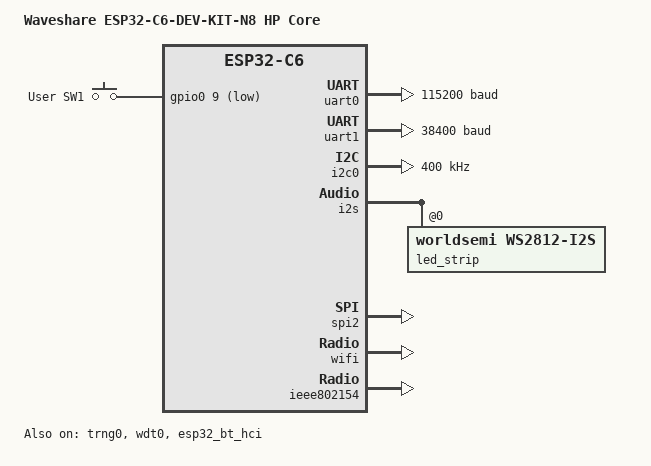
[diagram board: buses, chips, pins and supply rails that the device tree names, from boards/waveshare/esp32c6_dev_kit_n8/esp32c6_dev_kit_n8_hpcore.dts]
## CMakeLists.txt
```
cmake_minimum_required(VERSION 3.20.0)

list(APPEND BOARD_ROOT ${CMAKE_CURRENT_SOURCE_DIR})

find_package(Zephyr REQUIRED HINTS $ENV{ZEPHYR_BASE})
project(esp_nmea_bridge)

target_sources(app PRIVATE
  src/main.c
  src/nmea_bridge.c
  src/uart_nmea.c
  src/wifi_manager.c
  src/tcp_nmea_server.c
  src/tcp_nmea_session.c
)

configure_file(
  ${CMAKE_CURRENT_SOURCE_DIR}/src/web_assets.S.in
  ${CMAKE_CURRENT_BINARY_DIR}/web_assets.S
  @ONLY
)

set_property(SOURCE ${CMAKE_CURRENT_BINARY_DIR}/web_assets.S PROPERTY OBJECT_DEPENDS
  ${CMAKE_CURRENT_SOURCE_DIR}/src/web_assets/index.html
  ${CMAKE_CURRENT_SOURCE_DIR}/src/web_assets/app.js
  ${CMAKE_CURRENT_SOURCE_DIR}/src/web_assets/style.css
)

target_sources_ifdef(CONFIG_ESP_NMEA_BRIDGE_WEB_APP_ENABLE app PRIVATE
  src/bridge_telemetry.c
  src/web_app.c
  ${CMAKE_CURRENT_BINARY_DIR}/web_assets.S
)

target_sources_ifdef(CONFIG_ESP_NMEA_BRIDGE_STATUS_LED_ENABLE app PRIVATE
  src/status_led.c
  src/status_led_policy.c
)

target_sources_ifdef(CONFIG_ESP_NMEA_BRIDGE_TCP_NMEA_CLIENT_ENABLE app PRIVATE
  src/tcp_nmea_client.c
)

target_sources_ifdef(CONFIG_ESP_NMEA_BRIDGE_DNS_SD_ENABLE app PRIVATE
  src/nmea_dns_sd.c
)
```

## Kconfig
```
# ESP NMEA Bridge application configuration

mainmenu "ESP NMEA Bridge"

menu "ESP NMEA-0183 serial bridge"

config ESP_NMEA_BRIDGE_AP_ENABLE
	bool "Enable ESP32 SoftAP"
	default y

config ESP_NMEA_BRIDGE_STA_ENABLE
	bool "Enable Wi-Fi station mode"
	default y

config ESP_NMEA_BRIDGE_TCP_NMEA_SERVER_ENABLE
	bool "Enable TCP NMEA server"
	default y

config ESP_NMEA_BRIDGE_TCP_NMEA_CLIENT_ENABLE
	bool "Enable TCP NMEA client"
	default y
	depends on ESP_NMEA_BRIDGE_STA_ENABLE

config ESP_NMEA_BRIDGE_STATUS_LED_ENABLE
	bool "Enable status LED observer"
	default y
	select LED_STRIP
	help
	  Enable the optional status LED observer. When enabled, the observer
	  looks for a NeoPixel-compatible LED strip through the led-strip
	  devicetree alias and renders NMEA connection state. Missing or
	  non-ready LED hardware is non-fatal.

config ESP_NMEA_BRIDGE_MDNS_ENABLE
	bool "Enable mDNS hostname responder"
	default n
	select NET_HOSTNAME_ENABLE
	select MDNS_RESPONDER
	help
	  Enable Zephyr's mDNS responder so the device can answer
	  <hostname>.local queries. Set CONFIG_NET_HOSTNAME to choose the
	  hostname.

config ESP_NMEA_BRIDGE_DNS_SD_ENABLE
	bool "Advertise TCP NMEA service via DNS-SD"
	default n
	depends on ESP_NMEA_BRIDGE_MDNS_ENABLE
	depends on ESP_NMEA_BRIDGE_TCP_NMEA_SERVER_ENABLE
	select DNS_SD
	select MDNS_RESPONDER_DNS_SD
	help
	  Advertise the TCP NMEA-0183 server as _nmea-0183._tcp.local via
	  DNS Service Discovery. This option is only available when the local
	  TCP NMEA server is enabled, so the service is never advertised
	  without a listening server.

config ESP_NMEA_BRIDGE_TCP_NMEA_CLIENT_HOST
	string "TCP NMEA server IPv4 address"
	default ""
	depends on ESP_NMEA_BRIDGE_TCP_NMEA_CLIENT_ENABLE
	help
	  IPv4 address of the upstream TCP NMEA server. Leave empty to use the
	  DHCP gateway learned on the STA interface, useful when the ESP connects
	  directly to a Raspberry Pi/OpenPlotter hotspot.

config ESP_NMEA_BRIDGE_AP_SSID
	string "SoftAP SSID"
	default "ESP-NMEA0183"

config ESP_NMEA_BRIDGE_AP_PSK
	string "SoftAP WPA2 PSK password"
	default "ChangeMe1234"
	help
	  Prototype default only. Override in a local/pristine overlay for real use.
	  Leave empty to start an open SoftAP.

config ESP_NMEA_BRIDGE_STA_SSID
	string "STA target AP SSID"
	default ""

config ESP_NMEA_BRIDGE_STA_PSK
	string "STA target AP password"
	default ""

config ESP_NMEA_BRIDGE_STA_ROTATE_MAC
	bool "Rotate STA MAC address on boot"
	default y
	depends on ESP_NMEA_BRIDGE_STA_ENABLE
	help
	  Use a random locally administered STA MAC address on each boot. This
	  avoids stale station state on APs that keep the previous association
	  after the ESP resets without sending a deauthentication frame.

config ESP_NMEA_BRIDGE_TCP_NMEA_PORT
	int "TCP NMEA port"
	default 10110

config ESP_NMEA_BRIDGE_TCP_NMEA_SERVER_MAX_CLIENTS
	int "Maximum TCP NMEA server clients"
	default 3
	range 1 8

config ESP_NMEA_BRIDGE_NMEA_SINKS_MAX
	int "Maximum NMEA bridge sinks"
	default 4
	range 1 9
	help
	  Maximum concurrent sinks registered with the in-process NMEA bridge.
	  TCP NMEA server sessions and the outbound TCP NMEA client each consume
	  one sink while connected. Keep this at least TCP_NMEA_SERVER_MAX_CLIENTS
	  plus one when the TCP NMEA client is enabled.

config ESP_NMEA_BRIDGE_NMEA_FRAME_MAX_LEN
	int "Maximum NMEA frame length"
	default 128
	range 32 512

config ESP_NMEA_BRIDGE_INGEST_QUEUE_DEPTH
	int "NMEA ingest queue depth"
	default 32
	range 2 256

config ESP_NMEA_BRIDGE_SINK_QUEUE_DEPTH
	int "Per-sink NMEA queue depth"
	default 16
	range 2 128

config ESP_NMEA_BRIDGE_AP_IP_ADDRESS
	string "SoftAP IPv4 address"
	default "192.168.4.1"

config ESP_NMEA_BRIDGE_AP_NETMASK
	string "SoftAP IPv4 netmask"
	default "255.255.255.0"

endmenu

source "Kconfig.zephyr"
```

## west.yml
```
manifest:
  remotes:
    - name: zephyrproject-rtos
      url-base: https://github.com/zephyrproject-rtos

  defaults:
    remote: zephyrproject-rtos

  projects:
    - name: zephyr
      revision: f39ad09bd21c5bf409e13e6420e5b396d56d2ae8
      import: true

  self:
    path: esp-nmea-bridge
```

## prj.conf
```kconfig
# ESP NMEA Bridge application configuration

# Logging
CONFIG_LOG=y
CONFIG_LOG_MODE_DEFERRED=y
CONFIG_LOG_DEFAULT_LEVEL=3
CONFIG_NET_LOG=y

# UART NMEA input
CONFIG_SERIAL=y
CONFIG_UART_CONSOLE=y

# Board flash: the Waveshare N8 module has 8 MiB. Keep the image header in
# sync so the ROM bootloader validates the flashed image correctly.
CONFIG_ESPTOOLPY_FLASHSIZE_8MB=y

# Runtime heap: ESP-IDF's Wi-Fi stack creates legacy ETS timers dynamically
# while enabling AP+STA. The default ESP Wi-Fi heap add-on is too tight and
# can make esp_timer_create() fail with ESP_ERR_NO_MEM.
CONFIG_HEAP_MEM_POOL_SIZE=98304

# Wi-Fi AP+STA
CONFIG_WIFI=y
CONFIG_WIFI_NM=y
CONFIG_WIFI_ESP32=y
CONFIG_WIFI_USAGE_MODE_STA_AP=y
# Prefer a full STA scan over ESP-IDF fast scan. This mirrors the robust
# client behaviour we expect from the ESP-IDF implementation and avoids
# latching onto the first matching BSSID seen in marginal RF conditions.
CONFIG_ESP32_WIFI_STA_SCAN_ALL=y
# Network core
CONFIG_NETWORKING=y
CONFIG_NET_IPV4=y
CONFIG_NET_IPV6=n
CONFIG_NET_TCP=y
CONFIG_NET_UDP=y
CONFIG_NET_SOCKETS=y
CONFIG_NET_MGMT=y
CONFIG_NET_MGMT_EVENT=y
CONFIG_NET_MGMT_EVENT_INFO=y
CONFIG_NET_MGMT_EVENT_QUEUE_SIZE=16
CONFIG_NET_MGMT_EVENT_STACK_SIZE=4096
CONFIG_NET_CONNECTION_MANAGER=y
CONFIG_NET_CONFIG_AUTO_INIT=n
CONFIG_NET_L2_ETHERNET=y
CONFIG_NET_L2_WIFI_MGMT=y

# Hostname used when mDNS is enabled through an overlay. Keep discovery
# default-off in committed defaults; enable the app options in local.conf.
CONFIG_NET_HOSTNAME="esp-nmea-bridge"
CONFIG_ESP_NMEA_BRIDGE_MDNS_ENABLE=n
CONFIG_ESP_NMEA_BRIDGE_DNS_SD_ENABLE=n

# IPv4 addressing for AP and STA
CONFIG_NET_DHCPV4=y
CONFIG_NET_DHCPV4_SERVER=y
CONFIG_NET_IF_MAX_IPV4_COUNT=2

# Packet/socket resources for multiple clients and AP+STA
CONFIG_NET_PKT_RX_COUNT=24
CONFIG_NET_PKT_TX_COUNT=24
CONFIG_NET_BUF_RX_COUNT=48
CONFIG_NET_BUF_TX_COUNT=48
CONFIG_NET_SOCKETS_SERVICE_STACK_SIZE=4096
# AP DHCPv4 and optional mDNS/DNS-SD share Zephyr's socket service. The
# default poll table size (3) is too small once mDNS is enabled.
CONFIG_ZVFS_POLL_MAX=8
CONFIG_NET_MAX_CONN=16
CONFIG_NET_MAX_CONTEXTS=16

# Application defaults; override credentials in a local overlay, not source.
CONFIG_ESP_NMEA_BRIDGE_AP_ENABLE=y
CONFIG_ESP_NMEA_BRIDGE_STA_ENABLE=y
CONFIG_ESP_NMEA_BRIDGE_TCP_NMEA_SERVER_ENABLE=y
CONFIG_ESP_NMEA_BRIDGE_TCP_NMEA_CLIENT_ENABLE=y
CONFIG_ESP_NMEA_BRIDGE_AP_SSID="ESP-NMEA0183"
CONFIG_ESP_NMEA_BRIDGE_AP_PSK="ChangeMe1234"
CONFIG_ESP_NMEA_BRIDGE_TCP_NMEA_PORT=10110
CONFIG_ESP_NMEA_BRIDGE_TCP_NMEA_SERVER_MAX_CLIENTS=3
CONFIG_ESP_NMEA_BRIDGE_NMEA_SINKS_MAX=4
CONFIG_ESP_NMEA_BRIDGE_NMEA_FRAME_MAX_LEN=128
CONFIG_ESP_NMEA_BRIDGE_INGEST_QUEUE_DEPTH=32
CONFIG_ESP_NMEA_BRIDGE_SINK_QUEUE_DEPTH=16
CONFIG_ESP_NMEA_BRIDGE_AP_IP_ADDRESS="192.168.4.1"
CONFIG_ESP_NMEA_BRIDGE_AP_NETMASK="255.255.255.0"
```

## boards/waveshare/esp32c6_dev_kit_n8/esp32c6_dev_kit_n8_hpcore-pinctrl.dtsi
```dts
/*
 * Copyright (c) 2023 Espressif Systems (Shanghai) Co., Ltd.
 *
 * SPDX-License-Identifier: Apache-2.0
 */

#include <zephyr/dt-bindings/pinctrl/esp-pinctrl-common.h>
#include <zephyr/dt-bindings/pinctrl/esp32c6-pinctrl.h>
#include <zephyr/dt-bindings/pinctrl/esp32c6-gpio-sigmap.h>

&pinctrl {
	uart0_default: uart0_default {
		group1 {
			pinmux = <UART0_TX_GPIO16>;
			output-high;
		};

		group2 {
			pinmux = <UART0_RX_GPIO17>;
			bias-pull-up;
		};
	};

	uart1_default: uart1_default {
		group1 {
			pinmux = <UART1_TX_GPIO4>;
			output-high;
		};

		group2 {
			pinmux = <UART1_RX_GPIO5>;
			bias-pull-up;
		};
	};

	spim2_default: spim2_default {
		group1 {
			pinmux = <SPIM2_MISO_GPIO2>,
				 <SPIM2_SCLK_GPIO6>,
				 <SPIM2_CSEL_GPIO10>;
		};

		group2 {
			pinmux = <SPIM2_MOSI_GPIO7>;
			output-low;
		};
	};

	i2c0_default: i2c0_default {
		group1 {
			pinmux = <I2C0_SDA_GPIO6>,
				 <I2C0_SCL_GPIO7>;
			bias-pull-up;
			drive-open-drain;
			output-high;
		};
	};

	i2s_default: i2s_default {
		group1 {
			pinmux = <I2S_O_SD_GPIO8>;
		};
	};
};
```

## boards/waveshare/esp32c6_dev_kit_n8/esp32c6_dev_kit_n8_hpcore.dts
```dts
/*
 * Copyright (c) 2023 Espressif Systems (Shanghai) Co., Ltd.
 *
 * SPDX-License-Identifier: Apache-2.0
 */

/dts-v1/;

#include <espressif/esp32c6/esp32c6_wroom_n8.dtsi>
#include "esp32c6_dev_kit_n8_hpcore-pinctrl.dtsi"
#include <zephyr/dt-bindings/input/input-event-codes.h>
#include <zephyr/dt-bindings/led/led.h>
#include <espressif/partitions_0x0_default_8M.dtsi>

/ {
	model = "Waveshare ESP32-C6-DEV-KIT-N8 HP Core";
	compatible = "waveshare,esp32-c6-dev-kit-n8";

	chosen {
		zephyr,sram = &sramhp;
		zephyr,console = &uart0;
		zephyr,shell-uart = &uart0;
		zephyr,flash = &flash0;
		zephyr,code-partition = &slot0_partition;
		zephyr,ieee802154 = &ieee802154;
	};

	aliases {
		led-strip = &led_strip;
		serial1 = &uart1;
		sw0 = &user_button1;
		watchdog0 = &wdt0;
	};

	gpio_keys {
		compatible = "gpio-keys";

		user_button1: button_1 {
			label = "User SW1";
			gpios = <&gpio0 9 (GPIO_PULL_UP | GPIO_ACTIVE_LOW)>;
			zephyr,code = <INPUT_KEY_0>;
		};
	};
};

&uart0 {
	status = "okay";
	current-speed = <115200>;
	pinctrl-0 = <&uart0_default>;
	pinctrl-names = "default";
};

&uart1 {
	status = "okay";
	current-speed = <38400>;
	pinctrl-0 = <&uart1_default>;
	pinctrl-names = "default";
};

&trng0 {
	status = "okay";
};

&i2c0 {
	status = "okay";
	clock-frequency = <I2C_BITRATE_FAST>;
	pinctrl-0 = <&i2c0_default>;
	pinctrl-names = "default";
};

&i2s {
	status = "okay";
	pinctrl-0 = <&i2s_default>;
	pinctrl-names = "default";
	dmas = <&dma 3>;
	dma-names = "tx";

	led_strip: ws2812@0 {
		compatible = "worldsemi,ws2812-i2s";
		reg = <0>;
		chain-length = <1>;
		color-mapping = <LED_COLOR_ID_RED
				 LED_COLOR_ID_GREEN
				 LED_COLOR_ID_BLUE>;
		reset-delay = <500>;
		extra-wait-time = <5000>;
	};
};

&spi2 {
	#address-cells = <1>;
	#size-cells = <0>;
	status = "okay";
	pinctrl-0 = <&spim2_default>;
	pinctrl-names = "default";
};

&gpio0 {
	status = "okay";
};

&dma {
	status = "okay";
};

&wdt0 {
	status = "okay";
};

&wifi {
	status = "okay";
};

&ieee802154 {
	status = "okay";
};

&esp32_bt_hci {
	status = "okay";
};
```

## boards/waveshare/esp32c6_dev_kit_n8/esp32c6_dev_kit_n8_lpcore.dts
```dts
/*
 * Copyright (c) 2025 Espressif Systems (Shanghai) Co., Ltd.
 *
 * SPDX-License-Identifier: Apache-2.0
 */
/dts-v1/;

#include "esp32c6_lpcore_wroom_n8.dtsi"
#include <espressif/partitions_0x0_default_8M.dtsi>

/ {
	model = "Waveshare ESP32-C6-DEV-KIT-N8 LPCORE";
	compatible = "waveshare,esp32-c6-dev-kit-n8";

	chosen {
		zephyr,sram = &ulp_ram;
		zephyr,code-partition = &slot0_lpcore_partition;
		zephyr,console = &lp_uart;
		zephyr,shell-uart = &lp_uart;
	};
};

&lp_uart {
	status = "okay";
	current-speed = <115200>;
};
```

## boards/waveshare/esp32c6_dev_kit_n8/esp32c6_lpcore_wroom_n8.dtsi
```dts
/*
 * Copyright (c) 2025 Espressif Systems (Shanghai) Co., Ltd.
 *
 * SPDX-License-Identifier: Apache-2.0
 */

#include <espressif/esp32c6/esp32c6_lpcore.dtsi>

/* 8MB flash */
&flash0 {
	reg = <0x0 DT_SIZE_M(8)>;
	ranges = <0x0 0x0 DT_SIZE_M(8)>;
};
```

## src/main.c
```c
#include "nmea_bridge.h"
#include "status_led.h"
#include "tcp_nmea_server.h"
#include "tcp_nmea_client.h"
#include "uart_nmea.h"
#include "wifi_manager.h"

#include <zephyr/kernel.h>
#include <zephyr/logging/log.h>

LOG_MODULE_REGISTER(main, LOG_LEVEL_INF);

static void stats_thread(void *a, void *b, void *c)
{
	ARG_UNUSED(a);
	ARG_UNUSED(b);
	ARG_UNUSED(c);

	for (;;) {
		struct uart_nmea_stats uart_stats;
		struct nmea_bridge_stats bridge_stats;

		uart_nmea_get_stats(&uart_stats);
		nmea_bridge_get_stats(&bridge_stats);

		LOG_INF("stats: uart_bytes=%u lines=%u overlong=%u frames=%u ingest_drop=%u sink_drop=%u no_sinks=%u invalid=%u oversize=%u",
			uart_stats.bytes_rx, uart_stats.lines_rx, uart_stats.overlong_lines,
			bridge_stats.frames_in, bridge_stats.ingest_dropped_oldest,
			bridge_stats.sink_dropped_oldest, bridge_stats.publish_no_sinks,
			bridge_stats.publish_invalid, bridge_stats.publish_oversize);

		k_sleep(K_SECONDS(30));
	}
}

K_THREAD_DEFINE(stats_tid, 2048, stats_thread, NULL, NULL, NULL,
	       10, 0, 0);

int main(void)
{
	LOG_INF("ESP NMEA bridge on %s", CONFIG_BOARD_TARGET);

	nmea_bridge_init();
	(void)status_led_start();

	int ret = uart_nmea_start();
	if (ret != 0) {
		LOG_ERR("UART NMEA startup failed: %d", ret);
		return ret;
	}

	/* Let the ESP32 Wi-Fi stack settle, matching Zephyr AP+STA sample practice. */
	k_sleep(K_SECONDS(5));

	ret = wifi_manager_start();
	if (ret != 0) {
		LOG_WRN("Wi-Fi startup returned %d; UART ingestion continues", ret);
	}

	ret = tcp_nmea_server_start();
	if (ret != 0) {
		LOG_WRN("TCP NMEA server startup returned %d; UART ingestion continues", ret);
	}

	ret = tcp_nmea_client_start();
	if (ret != 0) {
		LOG_WRN("TCP NMEA client startup returned %d; UART ingestion continues", ret);
	}

	return 0;
}
```

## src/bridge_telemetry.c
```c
#include "bridge_telemetry.h"

#include "nmea_bridge.h"
#include "tcp_nmea_server.h"
#include "tcp_nmea_session.h"
#include "uart_nmea.h"
#include "wifi_manager.h"

#include <stddef.h>

#include <zephyr/kernel.h>

static struct bridge_telemetry_state telemetry_state;

static void copy_counters(const struct bridge_telemetry_inputs *inputs,
			 struct bridge_telemetry_counters *counters)
{
	counters->uart_bytes_rx = inputs->uart_bytes_rx;
	counters->uart_lines_rx = inputs->uart_lines_rx;
	counters->uart_overlong_lines = inputs->uart_overlong_lines;
	counters->bridge_frames_in = inputs->bridge_frames_in;
	counters->bridge_ingest_dropped_oldest = inputs->bridge_ingest_dropped_oldest;
	counters->bridge_sink_dropped_oldest = inputs->bridge_sink_dropped_oldest;
	counters->bridge_publish_no_sinks = inputs->bridge_publish_no_sinks;
	counters->bridge_publish_invalid = inputs->bridge_publish_invalid;
	counters->bridge_publish_oversize = inputs->bridge_publish_oversize;
	counters->tcp_nmea_active_sessions = inputs->tcp_nmea_active_sessions;
	counters->tcp_server_active_clients = inputs->tcp_server_active_clients;
	counters->tcp_server_max_clients = inputs->tcp_server_max_clients;
}

static void collect_inputs(struct bridge_telemetry_inputs *inputs)
{
	struct uart_nmea_stats uart_stats;
	struct nmea_bridge_stats bridge_stats;
	struct tcp_nmea_server_stats server_stats;
	struct tcp_nmea_session_stats session_stats;

	uart_nmea_get_stats(&uart_stats);
	nmea_bridge_get_stats(&bridge_stats);
	tcp_nmea_server_get_stats(&server_stats);
	tcp_nmea_session_get_stats(&session_stats);

	inputs->uart_bytes_rx = uart_stats.bytes_rx;
	inputs->uart_lines_rx = uart_stats.lines_rx;
	inputs->uart_overlong_lines = uart_stats.overlong_lines;
	inputs->bridge_frames_in = bridge_stats.frames_in;
	inputs->bridge_ingest_dropped_oldest = bridge_stats.ingest_dropped_oldest;
	inputs->bridge_sink_dropped_oldest = bridge_stats.sink_dropped_oldest;
	inputs->bridge_publish_no_sinks = bridge_stats.publish_no_sinks;
	inputs->bridge_publish_invalid = bridge_stats.publish_invalid;
	inputs->bridge_publish_oversize = bridge_stats.publish_oversize;
	inputs->tcp_nmea_active_sessions = session_stats.active_sessions;
	inputs->tcp_server_active_clients = server_stats.active_clients;
	inputs->tcp_server_max_clients = server_stats.max_clients;
	inputs->sta_ready = wifi_manager_sta_ready();
}

void bridge_telemetry_build_snapshot(struct bridge_telemetry_state *state,
				     const struct bridge_telemetry_inputs *inputs,
				     int64_t now_ms,
				     struct bridge_telemetry_snapshot *snapshot)
{
	if (state == NULL || inputs == NULL || snapshot == NULL) {
		return;
	}

	if (!state->initialized) {
		state->last_bridge_frames_in = inputs->bridge_frames_in;
		state->last_bridge_frame_ms = inputs->bridge_frames_in > 0U ? now_ms : INT64_MIN;
		state->initialized = true;
	} else if (inputs->bridge_frames_in != state->last_bridge_frames_in) {
		state->last_bridge_frames_in = inputs->bridge_frames_in;
		state->last_bridge_frame_ms = now_ms;
	}

	snapshot->connection_state = inputs->tcp_nmea_active_sessions > 0U ?
		BRIDGE_TELEMETRY_NMEA_CONNECTED : BRIDGE_TELEMETRY_NMEA_DISCONNECTED;
	if (state->last_bridge_frame_ms == INT64_MIN) {
		snapshot->input_state = BRIDGE_TELEMETRY_NMEA_INPUT_IDLE;
	} else {
		snapshot->input_state = now_ms - state->last_bridge_frame_ms <=
			BRIDGE_TELEMETRY_NMEA_INPUT_WINDOW_MS ?
			BRIDGE_TELEMETRY_NMEA_INPUT_ACTIVE : BRIDGE_TELEMETRY_NMEA_INPUT_IDLE;
	}
	snapshot->warnings.data_quality = inputs->uart_overlong_lines > 0U ||
		inputs->bridge_publish_invalid > 0U || inputs->bridge_publish_oversize > 0U;
	snapshot->warnings.frame_loss = inputs->bridge_ingest_dropped_oldest > 0U ||
		inputs->bridge_sink_dropped_oldest > 0U;
	snapshot->sta_ready = inputs->sta_ready;
	copy_counters(inputs, &snapshot->counters);
}

void bridge_telemetry_get_snapshot(struct bridge_telemetry_snapshot *snapshot)
{
	struct bridge_telemetry_inputs inputs;

	if (snapshot == NULL) {
		return;
	}

	collect_inputs(&inputs);
	bridge_telemetry_build_snapshot(&telemetry_state, &inputs, k_uptime_get(), snapshot);
}
```

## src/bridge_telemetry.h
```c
#ifndef BRIDGE_TELEMETRY_H_
#define BRIDGE_TELEMETRY_H_

#include <stdbool.h>
#include <stdint.h>

#define BRIDGE_TELEMETRY_NMEA_INPUT_WINDOW_MS 5000U

enum bridge_telemetry_nmea_connection_state {
	BRIDGE_TELEMETRY_NMEA_DISCONNECTED,
	BRIDGE_TELEMETRY_NMEA_CONNECTED,
};

enum bridge_telemetry_nmea_input_state {
	BRIDGE_TELEMETRY_NMEA_INPUT_IDLE,
	BRIDGE_TELEMETRY_NMEA_INPUT_ACTIVE,
};

struct bridge_telemetry_counters {
	uint32_t uart_bytes_rx;
	uint32_t uart_lines_rx;
	uint32_t uart_overlong_lines;
	uint32_t bridge_frames_in;
	uint32_t bridge_ingest_dropped_oldest;
	uint32_t bridge_sink_dropped_oldest;
	uint32_t bridge_publish_no_sinks;
	uint32_t bridge_publish_invalid;
	uint32_t bridge_publish_oversize;
	uint32_t tcp_nmea_active_sessions;
	uint32_t tcp_server_active_clients;
	uint32_t tcp_server_max_clients;
};

struct bridge_telemetry_warnings {
	bool data_quality;
	bool frame_loss;
};

struct bridge_telemetry_snapshot {
	enum bridge_telemetry_nmea_connection_state connection_state;
	enum bridge_telemetry_nmea_input_state input_state;
	struct bridge_telemetry_warnings warnings;
	bool sta_ready;
	struct bridge_telemetry_counters counters;
};

struct bridge_telemetry_inputs {
	uint32_t uart_bytes_rx;
	uint32_t uart_lines_rx;
	uint32_t uart_overlong_lines;
	uint32_t bridge_frames_in;
	uint32_t bridge_ingest_dropped_oldest;
	uint32_t bridge_sink_dropped_oldest;
	uint32_t bridge_publish_no_sinks;
	uint32_t bridge_publish_invalid;
	uint32_t bridge_publish_oversize;
	uint32_t tcp_nmea_active_sessions;
	uint32_t tcp_server_active_clients;
	uint32_t tcp_server_max_clients;
	bool sta_ready;
};

struct bridge_telemetry_state {
	uint32_t last_bridge_frames_in;
	int64_t last_bridge_frame_ms;
	bool initialized;
};

void bridge_telemetry_get_snapshot(struct bridge_telemetry_snapshot *snapshot);
void bridge_telemetry_build_snapshot(struct bridge_telemetry_state *state,
				     const struct bridge_telemetry_inputs *inputs,
				     int64_t now_ms,
				     struct bridge_telemetry_snapshot *snapshot);

#endif /* BRIDGE_TELEMETRY_H_ */
```

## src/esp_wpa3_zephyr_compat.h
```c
/*
 * Compatibility shims for ESP-IDF WPA3 SoftAP code paths that still refer to
 * FreeRTOS handle typedefs while built in Zephyr's ESP Wi-Fi port.
 */
#ifndef ESP_WPA3_ZEPHYR_COMPAT_H_
#define ESP_WPA3_ZEPHYR_COMPAT_H_

#include <stdint.h>

#ifndef pdPASS
#define pdPASS 1
#endif

#ifndef pdTRUE
#define pdTRUE 1
#endif

#ifndef portMAX_DELAY
#define portMAX_DELAY UINT32_MAX
#endif

typedef void *TaskHandle_t;
typedef void *QueueHandle_t;
typedef void *SemaphoreHandle_t;

#endif /* ESP_WPA3_ZEPHYR_COMPAT_H_ */
```

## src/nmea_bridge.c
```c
#include "nmea_bridge.h"

#include <errno.h>
#include <string.h>

#include <zephyr/logging/log.h>
#include <zephyr/sys/util.h>

LOG_MODULE_REGISTER(nmea_bridge, LOG_LEVEL_INF);

#define MAX_SINKS CONFIG_ESP_NMEA_BRIDGE_NMEA_SINKS_MAX

BUILD_ASSERT(CONFIG_ESP_NMEA_BRIDGE_NMEA_SINKS_MAX >=
	     (IS_ENABLED(CONFIG_ESP_NMEA_BRIDGE_TCP_NMEA_SERVER_ENABLE) ?
	      CONFIG_ESP_NMEA_BRIDGE_TCP_NMEA_SERVER_MAX_CLIENTS : 0) +
	     (IS_ENABLED(CONFIG_ESP_NMEA_BRIDGE_TCP_NMEA_CLIENT_ENABLE) ? 1 : 0),
	     "NMEA bridge sinks must cover TCP server clients plus TCP client");

K_MSGQ_DEFINE(ingest_msgq, sizeof(struct nmea_frame),
	     CONFIG_ESP_NMEA_BRIDGE_INGEST_QUEUE_DEPTH, 4);

struct sink_slot {
	bool active;
	const char *name;
	struct k_msgq msgq;
	char buffer[CONFIG_ESP_NMEA_BRIDGE_SINK_QUEUE_DEPTH * sizeof(struct nmea_frame)];
	struct nmea_sink_stats stats;
};

static struct sink_slot sinks[MAX_SINKS];
static struct nmea_bridge_stats bridge_stats;
static struct k_mutex sinks_lock;

static void put_drop_oldest(struct k_msgq *msgq, const struct nmea_frame *frame,
			    uint32_t *drop_counter)
{
	struct nmea_frame old;

	if (k_msgq_put(msgq, frame, K_NO_WAIT) == 0) {
		return;
	}

	(void)k_msgq_get(msgq, &old, K_NO_WAIT);
	(*drop_counter)++;

	if (k_msgq_put(msgq, frame, K_NO_WAIT) != 0) {
		(*drop_counter)++;
	}
}

static void dispatcher_thread(void *a, void *b, void *c)
{
	ARG_UNUSED(a);
	ARG_UNUSED(b);
	ARG_UNUSED(c);

	struct nmea_frame frame;

	for (;;) {
		k_msgq_get(&ingest_msgq, &frame, K_FOREVER);

		k_mutex_lock(&sinks_lock, K_FOREVER);
		bool any = false;

		for (int i = 0; i < ARRAY_SIZE(sinks); i++) {
			if (!sinks[i].active) {
				continue;
			}

			uint32_t before = sinks[i].stats.dropped_oldest;
			put_drop_oldest(&sinks[i].msgq, &frame, &sinks[i].stats.dropped_oldest);
			if (sinks[i].stats.dropped_oldest != before) {
				bridge_stats.sink_dropped_oldest +=
					sinks[i].stats.dropped_oldest - before;
			}
			sinks[i].stats.queued++;
			any = true;
		}

		if (!any) {
			bridge_stats.publish_no_sinks++;
		}
		k_mutex_unlock(&sinks_lock);
	}
}

K_THREAD_DEFINE(nmea_dispatcher_tid, 2048, dispatcher_thread, NULL, NULL, NULL,
	       5, 0, 0);

void nmea_bridge_init(void)
{
	k_mutex_init(&sinks_lock);

	for (int i = 0; i < ARRAY_SIZE(sinks); i++) {
		k_msgq_init(&sinks[i].msgq, sinks[i].buffer, sizeof(struct nmea_frame),
			    CONFIG_ESP_NMEA_BRIDGE_SINK_QUEUE_DEPTH);
	}

	LOG_INF("NMEA bridge ready: frame_len=%d ingest_depth=%d sink_depth=%d sinks=%d",
		CONFIG_ESP_NMEA_BRIDGE_NMEA_FRAME_MAX_LEN,
		CONFIG_ESP_NMEA_BRIDGE_INGEST_QUEUE_DEPTH,
		CONFIG_ESP_NMEA_BRIDGE_SINK_QUEUE_DEPTH, MAX_SINKS);
}

int nmea_bridge_publish_frame(const uint8_t *data, size_t len)
{
	struct nmea_frame frame;

	if (data == NULL || len == 0) {
		bridge_stats.publish_invalid++;
		return -EINVAL;
	}

	if (len > sizeof(frame.data)) {
		bridge_stats.publish_oversize++;
		LOG_WRN("Rejected oversized NMEA frame: len=%zu max=%zu", len,
			sizeof(frame.data));
		return -EMSGSIZE;
	}

	frame.len = len;
	memcpy(frame.data, data, frame.len);

	bridge_stats.frames_in++;
	put_drop_oldest(&ingest_msgq, &frame, &bridge_stats.ingest_dropped_oldest);
	return 0;
}

int nmea_bridge_sink_open(struct nmea_bridge_sink *sink, const char *name)
{
	if (sink == NULL) {
		return -EINVAL;
	}

	sink->id = -1;
	k_mutex_lock(&sinks_lock, K_FOREVER);

	for (int i = 0; i < ARRAY_SIZE(sinks); i++) {
		if (!sinks[i].active) {
			sinks[i].active = true;
			sinks[i].name = name;
			memset(&sinks[i].stats, 0, sizeof(sinks[i].stats));
			k_msgq_purge(&sinks[i].msgq);
			sink->id = i;
			k_mutex_unlock(&sinks_lock);
			LOG_INF("NMEA sink registered: %s id=%d", name ? name : "?", i);
			return 0;
		}
	}

	k_mutex_unlock(&sinks_lock);
	return -ENOMEM;
}

void nmea_bridge_sink_close(struct nmea_bridge_sink *sink)
{
	if (sink == NULL || sink->id < 0 || sink->id >= ARRAY_SIZE(sinks)) {
		return;
	}

	int sink_id = sink->id;

	k_mutex_lock(&sinks_lock, K_FOREVER);
	sinks[sink_id].active = false;
	sinks[sink_id].name = NULL;
	k_msgq_purge(&sinks[sink_id].msgq);
	sink->id = -1;
	k_mutex_unlock(&sinks_lock);
	LOG_INF("NMEA sink unregistered: id=%d", sink_id);
}

int nmea_bridge_sink_take(struct nmea_bridge_sink *sink, struct nmea_frame *frame,
				  k_timeout_t timeout)
{
	if (sink == NULL || frame == NULL) {
		return -EINVAL;
	}

	if (sink->id < 0) {
		return -ENOTCONN;
	}

	if (sink->id >= ARRAY_SIZE(sinks)) {
		return -EINVAL;
	}

	k_mutex_lock(&sinks_lock, K_FOREVER);
	bool active = sinks[sink->id].active;
	k_mutex_unlock(&sinks_lock);

	if (!active) {
		return -ENOTCONN;
	}

	int ret = k_msgq_get(&sinks[sink->id].msgq, frame, timeout);
	if (ret == 0) {
		sinks[sink->id].stats.consumed++;
	}

	return ret;
}

void nmea_bridge_get_stats(struct nmea_bridge_stats *stats)
{
	if (stats != NULL) {
		*stats = bridge_stats;
	}
}

void nmea_bridge_get_sink_stats(const struct nmea_bridge_sink *sink,
				       struct nmea_sink_stats *stats)
{
	if (stats == NULL || sink == NULL || sink->id < 0 ||
	    sink->id >= ARRAY_SIZE(sinks)) {
		return;
	}

	*stats = sinks[sink->id].stats;
}
```

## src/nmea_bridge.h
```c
#ifndef NMEA_BRIDGE_H_
#define NMEA_BRIDGE_H_

#include <stdbool.h>
#include <stddef.h>
#include <stdint.h>

#include <zephyr/kernel.h>

struct nmea_frame {
	uint16_t len;
	uint8_t data[CONFIG_ESP_NMEA_BRIDGE_NMEA_FRAME_MAX_LEN];
};

struct nmea_bridge_stats {
	uint32_t frames_in;
	uint32_t ingest_dropped_oldest;
	uint32_t sink_dropped_oldest;
	uint32_t publish_no_sinks;
	uint32_t publish_invalid;
	uint32_t publish_oversize;
};

struct nmea_sink_stats {
	uint32_t queued;
	uint32_t dropped_oldest;
	uint32_t consumed;
};

struct nmea_bridge_sink {
	int id;
};

void nmea_bridge_init(void);
int nmea_bridge_publish_frame(const uint8_t *data, size_t len);
int nmea_bridge_sink_open(struct nmea_bridge_sink *sink, const char *name);
void nmea_bridge_sink_close(struct nmea_bridge_sink *sink);
int nmea_bridge_sink_take(struct nmea_bridge_sink *sink, struct nmea_frame *frame,
				  k_timeout_t timeout);
void nmea_bridge_get_stats(struct nmea_bridge_stats *stats);
void nmea_bridge_get_sink_stats(const struct nmea_bridge_sink *sink,
				       struct nmea_sink_stats *stats);

#endif /* NMEA_BRIDGE_H_ */
```

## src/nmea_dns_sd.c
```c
#include <zephyr/net/dns_sd.h>
#include <zephyr/sys/util.h>

#if IS_ENABLED(CONFIG_ESP_NMEA_BRIDGE_DNS_SD_ENABLE) && \
	IS_ENABLED(CONFIG_ESP_NMEA_BRIDGE_TCP_NMEA_SERVER_ENABLE)

/* DNS-SD TXT records are length-prefixed strings as specified by RFC 6763.
 * This stream is a read-only MAIANA RX passthrough containing GPS and AIS RX
 * NMEA-0183 sentences.
 */
static const char nmea_txt[] = {
	"\x09" "txtvers=1"
	"\x0d" "talkers=GP,AI"
	"\x12" "content=gps,ais-rx"
	"\x0d" "source=maiana"
	"\x04" "ro=1"
};

DNS_SD_REGISTER_TCP_SERVICE(nmea0183,
			    CONFIG_NET_HOSTNAME,
			    "_nmea-0183",
			    "local",
			    nmea_txt,
			    CONFIG_ESP_NMEA_BRIDGE_TCP_NMEA_PORT);

#endif
```

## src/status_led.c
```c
#include "status_led.h"
#include "status_led_policy.h"

#include <zephyr/device.h>
#include <zephyr/devicetree.h>
#include <zephyr/drivers/i2s.h>
#include <zephyr/drivers/led_strip.h>
#include <zephyr/kernel.h>
#include <zephyr/logging/log.h>

LOG_MODULE_REGISTER(status_led, LOG_LEVEL_INF);

#define STATUS_LED_UPDATE_MS 100U
#define STATUS_LED_RETRY_INITIAL_MS 1000U
#define STATUS_LED_RETRY_MAX_MS 5000U

#if DT_NODE_HAS_STATUS(DT_ALIAS(led_strip), okay)
#define STATUS_LED_HAS_STRIP 1
#define STATUS_LED_STRIP_NODE DT_ALIAS(led_strip)
#define STATUS_LED_HAS_I2S_RECOVERY \
	DT_NODE_HAS_COMPAT(DT_BUS(STATUS_LED_STRIP_NODE), espressif_esp32_i2s)
static const struct device *const strip = DEVICE_DT_GET(STATUS_LED_STRIP_NODE);
#if STATUS_LED_HAS_I2S_RECOVERY
static const struct device *const strip_bus = DEVICE_DT_GET(DT_BUS(STATUS_LED_STRIP_NODE));
#endif
#else
#define STATUS_LED_HAS_STRIP 0
#define STATUS_LED_HAS_I2S_RECOVERY 0
static const struct device *const strip;
#endif

static bool status_led_running;
static int64_t status_led_started_ms;
static struct k_thread status_led_thread_data;
static struct status_led_policy_state status_led_state;
K_MUTEX_DEFINE(status_led_lock);
K_SEM_DEFINE(status_led_wake, 0, 1);
K_THREAD_STACK_DEFINE(status_led_stack, 1024);

static struct status_led_rgb status_led_render(uint32_t elapsed_ms)
{
	struct status_led_rgb rgb;

	k_mutex_lock(&status_led_lock, K_FOREVER);
	rgb = status_led_policy_render(&status_led_state, elapsed_ms);
	k_mutex_unlock(&status_led_lock);

	return rgb;
}

static bool status_led_rgb_equal(const struct status_led_rgb *a,
					const struct status_led_rgb *b)
{
	return a->r == b->r && a->g == b->g && a->b == b->b;
}

static void status_led_recover_bus(void)
{
#if STATUS_LED_HAS_I2S_RECOVERY
	int ret = i2s_trigger(strip_bus, I2S_DIR_TX, I2S_TRIGGER_DROP);

	if (ret < 0) {
		LOG_DBG("status LED I2S recovery trigger failed: %d", ret);
	}
#endif
}

static uint32_t status_led_retry_delay_ms(uint8_t failed_attempts)
{
	uint32_t delay_ms = STATUS_LED_RETRY_INITIAL_MS;

	while (failed_attempts > 1U && delay_ms < STATUS_LED_RETRY_MAX_MS) {
		delay_ms *= 2U;
		failed_attempts--;
	}

	if (delay_ms > STATUS_LED_RETRY_MAX_MS) {
		return STATUS_LED_RETRY_MAX_MS;
	}

	return delay_ms;
}

static void status_led_thread(void *a, void *b, void *c)
{
	ARG_UNUSED(a);
	ARG_UNUSED(b);
	ARG_UNUSED(c);

	int64_t next_retry_ms = 0;
	uint8_t failed_attempts = 0U;
	bool has_applied_rgb = false;
	struct status_led_rgb applied_rgb = { 0 };

	for (;;) {
		int64_t now_ms = k_uptime_get();
		uint32_t elapsed_ms = (uint32_t)(now_ms - status_led_started_ms);
		struct status_led_rgb rendered = status_led_render(elapsed_ms);

		if ((!has_applied_rgb || !status_led_rgb_equal(&rendered, &applied_rgb)) &&
		    now_ms >= next_retry_ms) {
			struct led_rgb pixel = {
				.r = rendered.r,
				.g = rendered.g,
				.b = rendered.b,
			};
			int ret = led_strip_update_rgb(strip, &pixel, 1);

			if (ret == 0) {
				applied_rgb = rendered;
				has_applied_rgb = true;
				failed_attempts = 0U;
				next_retry_ms = 0;
			} else {
				uint32_t retry_delay_ms;

				status_led_recover_bus();

				if (failed_attempts < UINT8_MAX) {
					failed_attempts++;
				}

				retry_delay_ms = status_led_retry_delay_ms(failed_attempts);
				next_retry_ms = now_ms + retry_delay_ms;
				LOG_WRN("status LED update failed: %d; retrying in %u ms", ret,
					retry_delay_ms);
			}
		}

		(void)k_sem_take(&status_led_wake, K_MSEC(STATUS_LED_UPDATE_MS));
	}
}

void status_led_tcp_nmea_session_started(void)
{
	k_mutex_lock(&status_led_lock, K_FOREVER);
	status_led_policy_tcp_nmea_session_started(&status_led_state);
	k_mutex_unlock(&status_led_lock);
}

void status_led_tcp_nmea_session_ended(void)
{
	k_mutex_lock(&status_led_lock, K_FOREVER);
	status_led_policy_tcp_nmea_session_ended(&status_led_state);
	k_mutex_unlock(&status_led_lock);
}

void status_led_tcp_nmea_client_connecting(bool connecting)
{
	k_mutex_lock(&status_led_lock, K_FOREVER);
	status_led_policy_tcp_nmea_client_connecting(&status_led_state, connecting);
	k_mutex_unlock(&status_led_lock);
}

void status_led_nmea_frame_received(void)
{
	uint32_t elapsed_ms = (uint32_t)(k_uptime_get() - status_led_started_ms);

	k_mutex_lock(&status_led_lock, K_FOREVER);
	status_led_policy_nmea_frame_received(&status_led_state, elapsed_ms);
	k_mutex_unlock(&status_led_lock);
	k_sem_give(&status_led_wake);
}

void status_led_nmea_frame_forwarded(void)
{
	uint32_t elapsed_ms = (uint32_t)(k_uptime_get() - status_led_started_ms);

	k_mutex_lock(&status_led_lock, K_FOREVER);
	status_led_policy_nmea_frame_forwarded(&status_led_state, elapsed_ms);
	k_mutex_unlock(&status_led_lock);
	k_sem_give(&status_led_wake);
}

void status_led_nmea_send_failed(void)
{
	uint32_t elapsed_ms = (uint32_t)(k_uptime_get() - status_led_started_ms);

	k_mutex_lock(&status_led_lock, K_FOREVER);
	status_led_policy_nmea_send_failed(&status_led_state, elapsed_ms);
	k_mutex_unlock(&status_led_lock);
	k_sem_give(&status_led_wake);
}

int status_led_start(void)
{
	if (status_led_running) {
		return 0;
	}

	if (!STATUS_LED_HAS_STRIP) {
		LOG_INF("status LED disabled: no led-strip devicetree alias");
		return 0;
	}

	if (!device_is_ready(strip)) {
		LOG_WRN("status LED disabled: led-strip device is not ready");
		return 0;
	}

	status_led_started_ms = k_uptime_get();
	status_led_running = true;
	k_thread_create(&status_led_thread_data, status_led_stack,
		       K_THREAD_STACK_SIZEOF(status_led_stack), status_led_thread,
		       NULL, NULL, NULL, 10, 0, K_NO_WAIT);
	LOG_INF("status LED started");

	return 0;
}
```

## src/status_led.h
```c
#ifndef STATUS_LED_H_
#define STATUS_LED_H_

#include <stdbool.h>

#ifdef __cplusplus
extern "C" {
#endif

/**
 * Start the optional status LED observer.
 *
 * Returns 0 when the observer started or status LED support is disabled or not
 * available. Hardware failures are non-fatal by design.
 */
#ifdef CONFIG_ESP_NMEA_BRIDGE_STATUS_LED_ENABLE
int status_led_start(void);
void status_led_tcp_nmea_session_started(void);
void status_led_tcp_nmea_session_ended(void);
void status_led_tcp_nmea_client_connecting(bool connecting);
void status_led_nmea_frame_received(void);
void status_led_nmea_frame_forwarded(void);
void status_led_nmea_send_failed(void);
#else
static inline int status_led_start(void)
{
	return 0;
}

static inline void status_led_tcp_nmea_session_started(void)
{
}

static inline void status_led_tcp_nmea_session_ended(void)
{
}

static inline void status_led_tcp_nmea_client_connecting(bool connecting)
{
	(void)connecting;
}

static inline void status_led_nmea_frame_received(void)
{
}

static inline void status_led_nmea_frame_forwarded(void)
{
}

static inline void status_led_nmea_send_failed(void)
{
}
#endif

#ifdef __cplusplus
}
#endif

#endif /* STATUS_LED_H_ */
```

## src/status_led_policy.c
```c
#include "status_led_policy.h"

static bool flash_active_until(bool active, uint32_t now_ms, uint32_t until_ms)
{
	return active && (int32_t)(now_ms - until_ms) < 0;
}

void status_led_policy_tcp_nmea_session_started(struct status_led_policy_state *state)
{
	state->active_tcp_nmea_sessions++;
}

void status_led_policy_tcp_nmea_session_ended(struct status_led_policy_state *state)
{
	if (state->active_tcp_nmea_sessions > 0U) {
		state->active_tcp_nmea_sessions--;
	}
}

void status_led_policy_tcp_nmea_client_connecting(struct status_led_policy_state *state,
						 bool connecting)
{
	state->outbound_tcp_nmea_client_connecting = connecting;
}

void status_led_policy_nmea_frame_received(struct status_led_policy_state *state,
					  uint32_t now_ms)
{
	state->nmea_activity_flash_active = true;
	state->nmea_activity_flash_until_ms = now_ms + STATUS_LED_NMEA_ACTIVITY_FLASH_MS;
}

void status_led_policy_nmea_frame_forwarded(struct status_led_policy_state *state,
					   uint32_t now_ms)
{
	state->nmea_forwarded_flash_active = true;
	state->nmea_forwarded_flash_until_ms = now_ms + STATUS_LED_NMEA_ACTIVITY_FLASH_MS;
}

void status_led_policy_nmea_send_failed(struct status_led_policy_state *state,
					uint32_t now_ms)
{
	state->nmea_error_flash_active = true;
	state->nmea_error_flash_until_ms = now_ms + STATUS_LED_NMEA_ACTIVITY_FLASH_MS;
}

enum status_led_base_state
status_led_policy_base_state(const struct status_led_policy_state *state)
{
	if (state->active_tcp_nmea_sessions > 0U) {
		return STATUS_LED_BASE_CONNECTED;
	}

	if (state->outbound_tcp_nmea_client_connecting) {
		return STATUS_LED_BASE_CONNECTING;
	}

	return STATUS_LED_BASE_DISCONNECTED;
}

struct status_led_rgb status_led_policy_render(const struct status_led_policy_state *state,
						 uint32_t elapsed_ms)
{
	if (flash_active_until(state->nmea_error_flash_active, elapsed_ms,
			       state->nmea_error_flash_until_ms)) {
		return (struct status_led_rgb){ STATUS_LED_NMEA_ERROR_RED, 0, 0 };
	}

	if (flash_active_until(state->nmea_forwarded_flash_active, elapsed_ms,
			       state->nmea_forwarded_flash_until_ms)) {
		return (struct status_led_rgb){ STATUS_LED_NMEA_FORWARDED_WHITE,
					       STATUS_LED_NMEA_FORWARDED_WHITE,
					       STATUS_LED_NMEA_FORWARDED_WHITE };
	}

	if (flash_active_until(state->nmea_activity_flash_active, elapsed_ms,
			       state->nmea_activity_flash_until_ms)) {
		return (struct status_led_rgb){ 0, 0, STATUS_LED_NMEA_ACTIVITY_BLUE };
	}

	return status_led_policy_render_base(status_led_policy_base_state(state), elapsed_ms);
}

struct status_led_rgb status_led_policy_render_base(enum status_led_base_state state,
						    uint32_t elapsed_ms)
{
	if (state == STATUS_LED_BASE_CONNECTED) {
		return (struct status_led_rgb){ 0, STATUS_LED_CONNECTED_GREEN, 0 };
	}

	if (state == STATUS_LED_BASE_CONNECTING) {
		return status_led_policy_render_connecting(elapsed_ms);
	}

	return status_led_policy_render_disconnected(elapsed_ms);
}

struct status_led_rgb status_led_policy_render_disconnected(uint32_t elapsed_ms)
{
	(void)elapsed_ms;

	return (struct status_led_rgb){ STATUS_LED_DISCONNECTED_RED, 0, 0 };
}

struct status_led_rgb status_led_policy_render_connecting(uint32_t elapsed_ms)
{
	uint32_t half_period_ms = STATUS_LED_CONNECTING_PERIOD_MS / 2U;
	uint32_t phase_ms = elapsed_ms % STATUS_LED_CONNECTING_PERIOD_MS;
	uint32_t ramp_ms = phase_ms;
	uint32_t red_range = STATUS_LED_CONNECTING_RED_MAX - STATUS_LED_CONNECTING_RED_MIN;
	uint32_t green_range = STATUS_LED_CONNECTING_GREEN_MAX - STATUS_LED_CONNECTING_GREEN_MIN;

	if (ramp_ms > half_period_ms) {
		ramp_ms = STATUS_LED_CONNECTING_PERIOD_MS - ramp_ms;
	}

	return (struct status_led_rgb){
		STATUS_LED_CONNECTING_RED_MIN + (uint8_t)((red_range * ramp_ms) / half_period_ms),
		STATUS_LED_CONNECTING_GREEN_MIN + (uint8_t)((green_range * ramp_ms) / half_period_ms),
		0,
	};
}
```

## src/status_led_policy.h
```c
#ifndef STATUS_LED_POLICY_H_
#define STATUS_LED_POLICY_H_

#include <stdbool.h>
#include <stdint.h>

#ifdef __cplusplus
extern "C" {
#endif

#define STATUS_LED_DISCONNECTED_RED 16U
#define STATUS_LED_CONNECTING_PERIOD_MS 1000U
#define STATUS_LED_CONNECTING_RED_MIN 4U
#define STATUS_LED_CONNECTING_GREEN_MIN 2U
#define STATUS_LED_CONNECTING_RED_MAX 16U
#define STATUS_LED_CONNECTING_GREEN_MAX 8U
#define STATUS_LED_CONNECTED_GREEN 16U
#define STATUS_LED_NMEA_ACTIVITY_FLASH_MS 100U
#define STATUS_LED_NMEA_ACTIVITY_BLUE 16U
#define STATUS_LED_NMEA_FORWARDED_WHITE 24U
#define STATUS_LED_NMEA_ERROR_RED 24U

struct status_led_rgb {
	uint8_t r;
	uint8_t g;
	uint8_t b;
};

enum status_led_base_state {
	STATUS_LED_BASE_DISCONNECTED,
	STATUS_LED_BASE_CONNECTING,
	STATUS_LED_BASE_CONNECTED,
};

struct status_led_policy_state {
	uint16_t active_tcp_nmea_sessions;
	bool outbound_tcp_nmea_client_connecting;
	bool nmea_activity_flash_active;
	bool nmea_forwarded_flash_active;
	bool nmea_error_flash_active;
	uint32_t nmea_activity_flash_until_ms;
	uint32_t nmea_forwarded_flash_until_ms;
	uint32_t nmea_error_flash_until_ms;
};

void status_led_policy_tcp_nmea_session_started(struct status_led_policy_state *state);
void status_led_policy_tcp_nmea_session_ended(struct status_led_policy_state *state);
void status_led_policy_tcp_nmea_client_connecting(struct status_led_policy_state *state,
						 bool connecting);
void status_led_policy_nmea_frame_received(struct status_led_policy_state *state,
					  uint32_t now_ms);
void status_led_policy_nmea_frame_forwarded(struct status_led_policy_state *state,
					   uint32_t now_ms);
void status_led_policy_nmea_send_failed(struct status_led_policy_state *state,
					uint32_t now_ms);
enum status_led_base_state
status_led_policy_base_state(const struct status_led_policy_state *state);

/**
 * Render the current NMEA connection state base pattern.
 *
 * The disconnected base state is steady dim red, the connecting base state is a
 * dim yellow/orange pulse, and the connected base state is steady dim green.
 * These policy functions are independent from Zephyr devices so they can be unit
 * tested on a host.
 */
struct status_led_rgb status_led_policy_render(const struct status_led_policy_state *state,
						 uint32_t elapsed_ms);
struct status_led_rgb status_led_policy_render_base(enum status_led_base_state state,
						    uint32_t elapsed_ms);
struct status_led_rgb status_led_policy_render_disconnected(uint32_t elapsed_ms);
struct status_led_rgb status_led_policy_render_connecting(uint32_t elapsed_ms);

#ifdef __cplusplus
}
#endif

#endif /* STATUS_LED_POLICY_H_ */
```

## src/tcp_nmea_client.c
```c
#include "tcp_nmea_client.h"

#include "status_led.h"
#include "tcp_nmea_session.h"
#include "wifi_manager.h"

#include <errno.h>
#include <string.h>

#include <zephyr/kernel.h>
#include <zephyr/logging/log.h>
#include <zephyr/net/net_ip.h>
#include <zephyr/net/socket.h>

LOG_MODULE_REGISTER(tcp_nmea_client, LOG_LEVEL_INF);

static bool started;

static int connect_server(const struct net_in_addr *host)
{
	int fd = zsock_socket(AF_INET, SOCK_STREAM, IPPROTO_TCP);
	if (fd < 0) {
		LOG_ERR("TCP NMEA client socket failed: errno=%d", errno);
		return -errno;
	}

	struct sockaddr_in addr = { 0 };
	addr.sin_family = AF_INET;
	addr.sin_port = htons(CONFIG_ESP_NMEA_BRIDGE_TCP_NMEA_PORT);
	addr.sin_addr = *host;

	char host_buf[NET_IPV4_ADDR_LEN];
	net_addr_ntop(AF_INET, host, host_buf, sizeof(host_buf));
	LOG_INF("TCP NMEA client connecting to %s:%d", host_buf,
		CONFIG_ESP_NMEA_BRIDGE_TCP_NMEA_PORT);

	if (zsock_connect(fd, (struct sockaddr *)&addr, sizeof(addr)) < 0) {
		int ret = -errno;
		LOG_WRN("TCP NMEA connect failed: errno=%d", errno);
		(void)zsock_close(fd);
		return ret;
	}

	int flags = zsock_fcntl(fd, ZVFS_F_GETFL, 0);
	(void)zsock_fcntl(fd, ZVFS_F_SETFL, flags | ZVFS_O_NONBLOCK);

	LOG_INF("TCP NMEA client connected");
	return fd;
}

static bool get_tcp_nmea_server_host(struct net_in_addr *host)
{
	if (strlen(CONFIG_ESP_NMEA_BRIDGE_TCP_NMEA_CLIENT_HOST) > 0) {
		if (!wifi_manager_sta_ready()) {
			return false;
		}

		if (net_addr_pton(AF_INET, CONFIG_ESP_NMEA_BRIDGE_TCP_NMEA_CLIENT_HOST, host) != 0) {
			LOG_ERR("Invalid TCP NMEA client host IP: %s", CONFIG_ESP_NMEA_BRIDGE_TCP_NMEA_CLIENT_HOST);
			k_sleep(K_SECONDS(30));
			return false;
		}

		return true;
	}

	return wifi_manager_get_sta_gateway(host);
}

static void client_thread(void *a, void *b, void *c)
{
	ARG_UNUSED(a);
	ARG_UNUSED(b);
	ARG_UNUSED(c);

	uint32_t backoff_s = 1;

	for (;;) {
		struct net_in_addr host;
		uint32_t wait_ticks = 0;

		while (!get_tcp_nmea_server_host(&host)) {
			wait_ticks++;
			if ((wait_ticks % 5U) == 0U) {
				LOG_INF("TCP NMEA client waiting for STA IPv4%s",
					strlen(CONFIG_ESP_NMEA_BRIDGE_TCP_NMEA_CLIENT_HOST) > 0 ? "" : " gateway");
			}
			k_sleep(K_SECONDS(2));
		}

		status_led_tcp_nmea_client_connecting(true);

		int fd = connect_server(&host);
		if (fd < 0) {
			k_sleep(K_SECONDS(backoff_s));
			backoff_s = MIN(backoff_s * 2, 30U);
			continue;
		}

		status_led_tcp_nmea_client_connecting(false);
		backoff_s = 1;
		(void)tcp_nmea_session_run(fd, "tcp-nmea-client");
		LOG_INF("TCP NMEA client disconnected; reconnecting");
		status_led_tcp_nmea_client_connecting(true);
		k_sleep(K_SECONDS(backoff_s));
		backoff_s = MIN(backoff_s * 2, 30U);
	}
}

static struct k_thread tcp_nmea_client_thread;
K_THREAD_STACK_DEFINE(tcp_nmea_client_stack, 4096);

int tcp_nmea_client_start(void)
{
	if (!IS_ENABLED(CONFIG_ESP_NMEA_BRIDGE_TCP_NMEA_CLIENT_ENABLE)) {
		LOG_INF("TCP NMEA client disabled");
		return 0;
	}

	if (!started) {
		started = true;
		k_thread_create(&tcp_nmea_client_thread, tcp_nmea_client_stack,
				K_THREAD_STACK_SIZEOF(tcp_nmea_client_stack), client_thread,
				NULL, NULL, NULL, 7, 0, K_NO_WAIT);
	}

	return 0;
}
```

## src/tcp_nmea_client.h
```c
#ifndef TCP_NMEA_CLIENT_H_
#define TCP_NMEA_CLIENT_H_

#ifdef CONFIG_ESP_NMEA_BRIDGE_TCP_NMEA_CLIENT_ENABLE
int tcp_nmea_client_start(void);
#else
static inline int tcp_nmea_client_start(void)
{
	return 0;
}
#endif

#endif /* TCP_NMEA_CLIENT_H_ */
```
